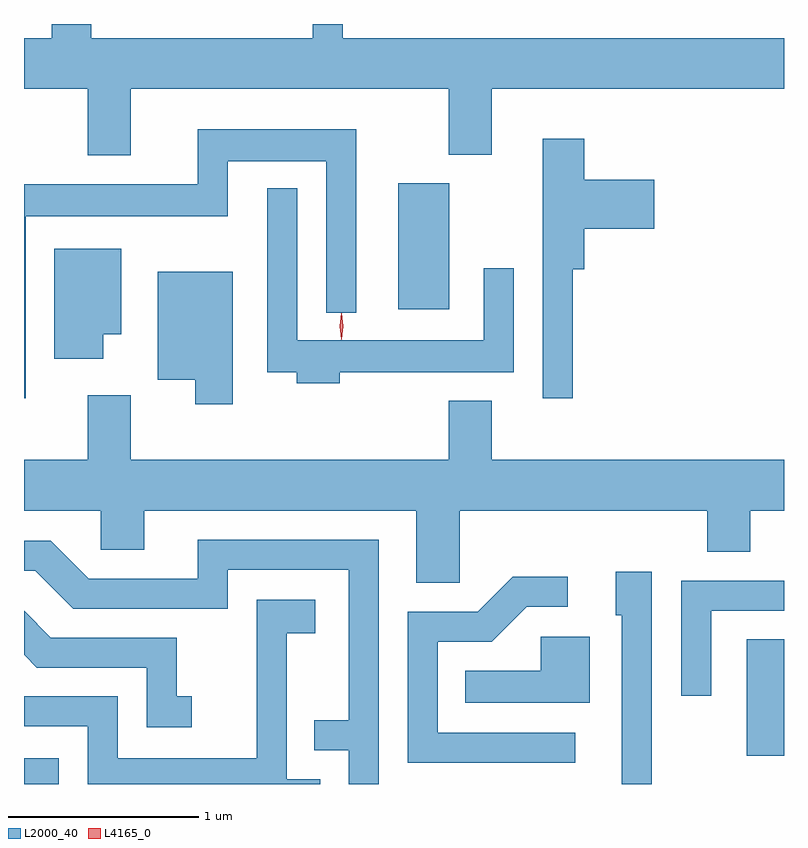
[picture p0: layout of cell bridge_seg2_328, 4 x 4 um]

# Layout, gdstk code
import gdstk
lib = gdstk.Library(unit=1e-6, precision=1e-09)
def R(c, l, rs):  # rectangles x0, y0, x1, y1
    for r in rs: c.add(gdstk.rectangle(r[:2], r[2:], *l))
def P(c, l, *ps):  # polygons
    for p in ps: c.add(gdstk.Polygon(p, *l))
L2000_40 = (2000, 40)
L4165_0 = (4165, 0)

bridge_seg2_328 = lib.new_cell('bridge_seg2_328')
R(bridge_seg2_328, L2000_40, [(406.796,1022.458,406.979,1022.594), (410.601,1022.606,410.796,1023.219), (408.766,1024.956,409.034,1025.619)])
P(bridge_seg2_328, L2000_40, [(407.359,1026.116),(409.031,1026.116),(409.031,1025.771),(409.259,1025.771),(409.259,1026.116),(410.796,1026.116),(410.796,1026.384),(408.474,1026.384),(408.474,1026.458),(408.316,1026.458),(408.316,1026.384),(407.149,1026.384),(407.149,1026.458),(406.941,1026.458),(406.941,1026.384),(406.796,1026.384),(406.796,1026.116),(407.131,1026.116),(407.131,1025.766),(407.359,1025.766)],
  [(406.804,1025.446),(407.869,1025.446),(407.869,1025.736),(408.386,1025.736),(408.386,1024.938),(408.544,1024.938),(408.544,1025.904),(407.711,1025.904),(407.711,1025.614),(406.796,1025.614),(406.796,1024.488),(406.804,1024.488)],
  [(409.684,1025.166),(409.744,1025.166),(409.744,1025.381),(410.114,1025.381),(410.114,1025.639),(409.744,1025.639),(409.744,1025.854),(409.526,1025.854),(409.526,1024.488),(409.684,1024.488)],
  [(408.459,1024.626),(409.374,1024.626),(409.374,1025.173),(409.216,1025.173),(409.216,1024.794),(408.234,1024.794),(408.234,1025.593),(408.076,1025.593),(408.076,1024.626),(408.231,1024.626),(408.231,1024.566),(408.459,1024.566)],
  [(407.214,1024.826),(407.309,1024.826),(407.309,1025.274),(406.956,1025.274),(406.956,1024.696),(407.214,1024.696)],
  [(407.894,1025.154),(407.501,1025.154),(407.501,1024.586),(407.696,1024.586),(407.696,1024.456),(407.894,1024.456)],
  [(409.089,1023.896),(410.391,1023.896),(410.391,1023.681),(410.619,1023.681),(410.619,1023.896),(410.796,1023.896),(410.796,1024.164),(409.259,1024.164),(409.259,1024.474),(409.031,1024.474),(409.031,1024.164),(407.359,1024.164),(407.359,1024.504),(407.131,1024.504),(407.131,1024.164),(406.796,1024.164),(406.796,1023.896),(407.201,1023.896),(407.201,1023.691),(407.429,1023.691),(407.429,1023.896),(408.861,1023.896),(408.861,1023.516),(409.089,1023.516)],
  [(408.664,1023.744),(407.711,1023.744),(407.711,1023.539),(407.137,1023.539),(406.937,1023.739),(406.796,1023.739),(406.796,1023.581),(406.854,1023.581),(407.054,1023.381),(407.869,1023.381),(407.869,1023.586),(408.506,1023.586),(408.506,1022.794),(408.323,1022.794),(408.323,1022.636),(408.506,1022.636),(408.506,1022.458),(408.664,1022.458)],
  [(410.099,1023.574),(409.911,1023.574),(409.911,1023.346),(409.941,1023.346),(409.941,1022.458),(410.099,1022.458)],
  [(409.698,1022.729),(408.974,1022.729),(408.974,1023.206),(409.257,1023.206),(409.442,1023.391),(409.658,1023.391),(409.658,1023.549),(409.369,1023.549),(409.184,1023.364),(408.816,1023.364),(408.816,1022.571),(409.698,1022.571)],
  [(410.414,1023.371),(410.796,1023.371),(410.796,1023.529),(410.256,1023.529),(410.256,1022.923),(410.414,1022.923)],
  [(408.354,1022.484),(408.179,1022.484),(408.179,1023.251),(408.329,1023.251),(408.329,1023.429),(408.021,1023.429),(408.021,1022.594),(407.289,1022.594),(407.289,1022.919),(406.796,1022.919),(406.796,1022.761),(407.131,1022.761),(407.131,1022.458),(408.354,1022.458)],
  [(407.678,1022.919),(407.599,1022.919),(407.599,1023.229),(406.937,1023.229),(406.796,1023.37),(406.796,1023.139),(406.864,1023.071),(407.441,1023.071),(407.441,1022.756),(407.678,1022.756)],
  [(409.774,1023.234),(409.516,1023.234),(409.516,1023.054),(409.118,1023.054),(409.118,1022.886),(409.774,1022.886)])
P(bridge_seg2_328, L4165_0, [(408.467,1024.797),(408.467,1024.798),(408.457,1024.867),(408.467,1024.936),(408.467,1024.936),(408.468,1024.936),(408.477,1024.867),(408.468,1024.798)],
  [(408.467,1024.8),(408.467,1024.8),(408.457,1024.866),(408.467,1024.933),(408.467,1024.933),(408.468,1024.933),(408.477,1024.866),(408.468,1024.8)])

lib.write_gds('bridge_seg2_328.gds')
